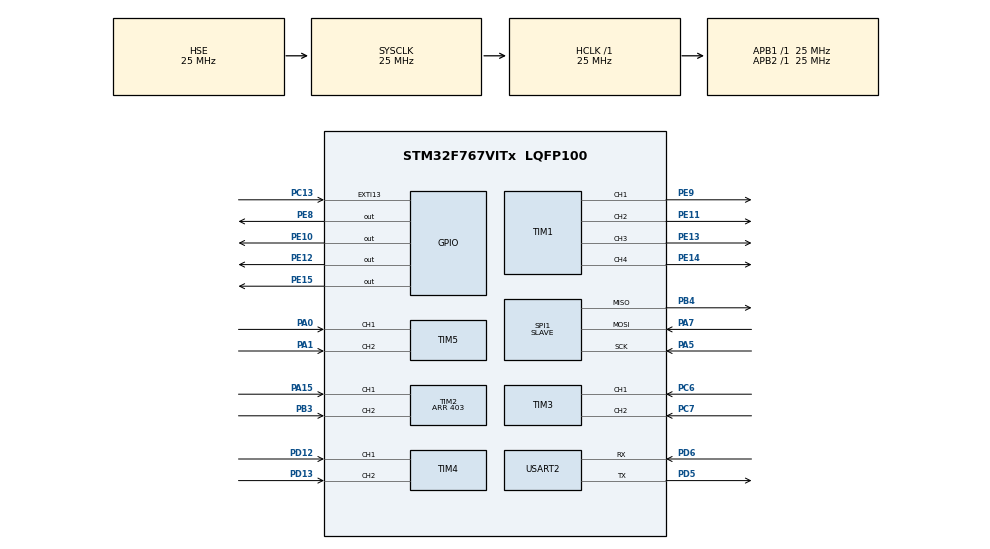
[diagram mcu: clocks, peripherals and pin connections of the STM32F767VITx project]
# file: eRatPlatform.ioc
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FREERTOS.Tasks01=defaultTask,0,128,StartDefaultTask,Default,NULL
Mcu.Family=STM32F7
Mcu.Name=STM32F767VITx
Mcu.Package=LQFP100
NVIC.EXTI15_10_IRQn=true\:0\:0\:false\:false\:true\:false\:true
NVIC.PriorityGroup=NVIC_PRIORITYGROUP_4
NVIC.TIM8_TRG_COM_TIM14_IRQn=true\:0\:0\:false\:false\:true\:false\:false
NVIC.TimeBase=TIM8_TRG_COM_TIM14_IRQn
NVIC.TimeBaseIP=TIM14
PA0/WKUP.Signal=S_TIM5_CH1
PA1.Signal=S_TIM5_CH2
PA13.Mode=Serial_Wire
PA13.Signal=SYS_JTMS-SWDIO
PA14.Mode=Serial_Wire
PA14.Signal=SYS_JTCK-SWCLK
PA15.Signal=S_TIM2_CH1_ETR
PA5.Mode=Full_Duplex_Slave
PA5.Signal=SPI1_SCK
PA7.Mode=Full_Duplex_Slave
PA7.Signal=SPI1_MOSI
PB3.Signal=S_TIM2_CH2
PB4.Mode=Full_Duplex_Slave
PB4.Signal=SPI1_MISO
PC13.GPIO_ModeDefaultEXTI=GPIO_MODE_IT_RISING
PC13.Signal=GPXTI13
PC14/OSC32_IN.Mode=LSE-External-Oscillator
PC14/OSC32_IN.Signal=RCC_OSC32_IN
PC15/OSC32_OUT.Mode=LSE-External-Oscillator
PC15/OSC32_OUT.Signal=RCC_OSC32_OUT
PC6.Signal=S_TIM3_CH1
PC7.Signal=S_TIM3_CH2
PD12.Signal=S_TIM4_CH1
PD13.Signal=S_TIM4_CH2
PD5.Mode=Asynchronous
PD5.Signal=USART2_TX
PD6.Mode=Asynchronous
PD6.Signal=USART2_RX
PE10.Signal=GPIO_Output
PE11.Signal=S_TIM1_CH2
PE12.Signal=GPIO_Output
PE13.Signal=S_TIM1_CH3
PE14.Signal=S_TIM1_CH4
PE15.Signal=GPIO_Output
PE8.Signal=GPIO_Output
PE9.Signal=S_TIM1_CH1
PH0/OSC_IN.Mode=HSE-External-Oscillator
PH0/OSC_IN.Signal=RCC_OSC_IN
PH1/OSC_OUT.Mode=HSE-External-Oscillator
PH1/OSC_OUT.Signal=RCC_OSC_OUT
ProjectManager.HeapSize=0x200
ProjectManager.StackSize=0x400
ProjectManager.TargetToolchain=SW4STM32
RCC.AHBFreq_Value=25000000
RCC.APB1Freq_Value=25000000
RCC.APB1TimFreq_Value=25000000
RCC.APB2Freq_Value=25000000
RCC.APB2TimFreq_Value=25000000
RCC.CortexFreq_Value=25000000
RCC.EnbaleCSS=true
RCC.HCLKFreq_Value=25000000
RCC.HSE_VALUE=25000000
RCC.HSI_VALUE=16000000
RCC.PLLM=12
RCC.PLLN=144
RCC.PLLQ=5
RCC.PLLSourceVirtual=RCC_PLLSOURCE_HSE
RCC.SYSCLKFreq_VALUE=25000000
RCC.SYSCLKSource=RCC_SYSCLKSOURCE_HSE
RCC.USBFreq_Value=60000000
RCC.VCOOutputFreq_Value=300000000
SH.S_TIM1_CH1.0=TIM1_CH1,PWM Generation1 CH1
SH.S_TIM1_CH2.0=TIM1_CH2,PWM Generation2 CH2
SH.S_TIM1_CH3.0=TIM1_CH3,PWM Generation3 CH3
SH.S_TIM1_CH4.0=TIM1_CH4,PWM Generation4 CH4
SH.S_TIM2_CH1_ETR.0=TIM2_CH1,Encoder_Interface
SH.S_TIM2_CH2.0=TIM2_CH2,Encoder_Interface
SH.S_TIM3_CH1.0=TIM3_CH1,Encoder_Interface
SH.S_TIM3_CH2.0=TIM3_CH2,Encoder_Interface
SH.S_TIM4_CH1.0=TIM4_CH1,Encoder_Interface
SH.S_TIM4_CH2.0=TIM4_CH2,Encoder_Interface
SH.S_TIM5_CH1.0=TIM5_CH1,Encoder_Interface
SH.S_TIM5_CH2.0=TIM5_CH2,Encoder_Interface
SPI1.CLKPhase=SPI_PHASE_1EDGE
SPI1.CLKPolarity=SPI_POLARITY_LOW
SPI1.DataSize=SPI_DATASIZE_8BIT
SPI1.Direction=SPI_DIRECTION_2LINES
SPI1.Mode=SPI_MODE_SLAVE
SPI1.VirtualType=VM_SLAVE
TIM1.Channel-PWM\ Generation1\ CH1=TIM_CHANNEL_1
TIM1.Channel-PWM\ Generation2\ CH2=TIM_CHANNEL_2
TIM1.Channel-PWM\ Generation3\ CH3=TIM_CHANNEL_3
TIM1.Channel-PWM\ Generation4\ CH4=TIM_CHANNEL_4
TIM2.IC2Filter=15
TIM2.Period=403
USART2.VirtualMode-Asynchronous=VM_ASYNC
VP_FREERTOS_VS_ENABLE.Mode=Enabled
VP_SYS_VS_tim14.Mode=TIM14
board=custom

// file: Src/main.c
/**
  ******************************************************************************
  * @file           : main.c
  * @brief          : Main program body
  ******************************************************************************
  * This notice applies to any and all portions of this file
  * that are not between comment pairs USER CODE BEGIN and
  * USER CODE END. Other portions of this file, whether
  * inserted by the user or by software development tools
  * are owned by their respective copyright owners.
  *
  * Copyright (c) 2018 STMicroelectronics International N.V.
  * All rights reserved.
  *
  * Redistribution and use in source and binary forms, with or without
  * modification, are permitted, provided that the following conditions are met:
  *
  * 1. Redistribution of source code must retain the above copyright notice,
  *    this list of conditions and the following disclaimer.
  * 2. Redistributions in binary form must reproduce the above copyright notice,
  *    this list of conditions and the following disclaimer in the documentation
  *    and/or other materials provided with the distribution.
  * 3. Neither the name of STMicroelectronics nor the names of other
  *    contributors to this software may be used to endorse or promote products
  *    derived from this software without specific written permission.
  * 4. This software, including modifications and/or derivative works of this
  *    software, must execute solely and exclusively on microcontroller or
  *    microprocessor devices manufactured by or for STMicroelectronics.
  * 5. Redistribution and use of this software other than as permitted under
  *    this license is void and will automatically terminate your rights under
  *    this license.
  *
  * THIS SOFTWARE IS PROVIDED BY STMICROELECTRONICS AND CONTRIBUTORS "AS IS"
  * AND ANY EXPRESS, IMPLIED OR STATUTORY WARRANTIES, INCLUDING, BUT NOT
  * LIMITED TO, THE IMPLIED WARRANTIES OF MERCHANTABILITY, FITNESS FOR A
  * PARTICULAR PURPOSE AND NON-INFRINGEMENT OF THIRD PARTY INTELLECTUAL PROPERTY
  * RIGHTS ARE DISCLAIMED TO THE FULLEST EXTENT PERMITTED BY LAW. IN NO EVENT
  * SHALL STMICROELECTRONICS OR CONTRIBUTORS BE LIABLE FOR ANY DIRECT, INDIRECT,
  * INCIDENTAL, SPECIAL, EXEMPLARY, OR CONSEQUENTIAL DAMAGES (INCLUDING, BUT NOT
  * LIMITED TO, PROCUREMENT OF SUBSTITUTE GOODS OR SERVICES; LOSS OF USE, DATA,
  * OR PROFITS; OR BUSINESS INTERRUPTION) HOWEVER CAUSED AND ON ANY THEORY OF
  * LIABILITY, WHETHER IN CONTRACT, STRICT LIABILITY, OR TORT (INCLUDING
  * NEGLIGENCE OR OTHERWISE) ARISING IN ANY WAY OUT OF THE USE OF THIS SOFTWARE,
  * EVEN IF ADVISED OF THE POSSIBILITY OF SUCH DAMAGE.
  *
  ******************************************************************************
  */
#include "main.h"
#include "stm32f7xx_hal.h"
#include "cmsis_os.h"
#include "spi.h"
#include "tim.h"
#include "usart.h"
#include "gpio.h"

/* USER CODE BEGIN Includes */
#include "Interface.h"
#include "WheelDriveSystem.h"
#include "WheelDrive.h"

/* USER CODE END Includes */

/* USER CODE BEGIN PV */
/* Private variables ---------------------------------------------------------*/

/* USER CODE END PV */

void SystemClock_Config(void);
void MX_FREERTOS_Init(void);

/* USER CODE BEGIN PFP */
/* Private function prototypes -----------------------------------------------*/

/* USER CODE END PFP */

int main(void)
{

  /* MCU Configuration----------------------------------------------------------*/

  /* Reset of all peripherals, Initializes the Flash interface and the Systick. */
  HAL_Init();

  /* Configure the system clock */
  SystemClock_Config();

  /* Initialize all configured peripherals */
  MX_GPIO_Init();
  MX_TIM1_Init();
  MX_TIM2_Init();
  MX_TIM3_Init();
  MX_TIM4_Init();
  MX_TIM5_Init();
  MX_USART2_UART_Init();
  MX_SPI1_Init();
  /* USER CODE BEGIN 2 */

	/* WHEEL DRIVE INIT BEGIN */
	/* Initialize PWM for Wheel Drive*/
	MX_TIM1_Init();

	/* Wheel Drive Front Left */
	HAL_TIM_PWM_Start(&htim1, TIM_CHANNEL_1);

	/*  Wheel Drive Rear Left */
	HAL_TIM_PWM_Start(&htim1, TIM_CHANNEL_2);

	/* Wheel Drive Front Right */
	HAL_TIM_PWM_Start(&htim1, TIM_CHANNEL_3);

	/* Wheel Drive Rear Right */
	HAL_TIM_PWM_Start(&htim1, TIM_CHANNEL_4);

	/* Initialize Encoder for Wheel Drive Front Left, Rear Left, Front Right, Rear Right*/
	MX_TIM2_Init();
	HAL_TIM_Encoder_Start(&htim2, TIM_CHANNEL_1 | TIM_CHANNEL_2);

	/* Initialize Encoder for Wheel Drive Rear Left */
	MX_TIM3_Init();
	HAL_TIM_Encoder_Start(&htim3, TIM_CHANNEL_1 | TIM_CHANNEL_2);

	/* Initialize Encoder for Wheel Drive Front Right */
	MX_TIM4_Init();
	HAL_TIM_Encoder_Start(&htim4, TIM_CHANNEL_1 | TIM_CHANNEL_2);

	/* Initialize Encoder for Wheel Drive Rear Right */
	MX_TIM5_Init();
	HAL_TIM_Encoder_Start(&htim5, TIM_CHANNEL_1 | TIM_CHANNEL_2);
	/* WHEEL DRIVE INIT END */

  /* USER CODE END 2 */

  /* Call init function for freertos objects (in freertos.c) */
  MX_FREERTOS_Init();

  /* Start scheduler */
  osKernelStart();

  /* We should never get here as control is now taken by the scheduler */

  /* Infinite loop */
  while (1)
  {
	  //HAL_GPIO_WritePin(GPIOC, GPIO_PIN_9, GPIO_PIN_RESET);
	  //HAL_SPI_Transmit(&hspi1, (uint8_t *)message, strlen(message), HAL_MAX_DELAY);
	  //HAL_GPIO_WritePin(GPIOB, GPIO_PIN_10, GPIO_PIN_SET);
	  HAL_Delay(10);
  }

}

void SystemClock_Config(void)
{

  RCC_OscInitTypeDef RCC_OscInitStruct;
  RCC_ClkInitTypeDef RCC_ClkInitStruct;
  RCC_PeriphCLKInitTypeDef PeriphClkInitStruct;

    /**Configure the main internal regulator output voltage
    */
  __HAL_RCC_PWR_CLK_ENABLE();

  __HAL_PWR_VOLTAGESCALING_CONFIG(PWR_REGULATOR_VOLTAGE_SCALE3);

    /**Initializes the CPU, AHB and APB busses clocks
    */
  RCC_OscInitStruct.OscillatorType = RCC_OSCILLATORTYPE_HSE;
  RCC_OscInitStruct.HSEState = RCC_HSE_ON;
  RCC_OscInitStruct.PLL.PLLState = RCC_PLL_NONE;
  if (HAL_RCC_OscConfig(&RCC_OscInitStruct) != HAL_OK)
  {
    _Error_Handler(__FILE__, __LINE__);
  }

    /**Initializes the CPU, AHB and APB busses clocks
    */
  RCC_ClkInitStruct.ClockType = RCC_CLOCKTYPE_HCLK|RCC_CLOCKTYPE_SYSCLK
                              |RCC_CLOCKTYPE_PCLK1|RCC_CLOCKTYPE_PCLK2;
  RCC_ClkInitStruct.SYSCLKSource = RCC_SYSCLKSOURCE_HSE;
  RCC_ClkInitStruct.AHBCLKDivider = RCC_SYSCLK_DIV1;
  RCC_ClkInitStruct.APB1CLKDivider = RCC_HCLK_DIV1;
  RCC_ClkInitStruct.APB2CLKDivider = RCC_HCLK_DIV1;

  if (HAL_RCC_ClockConfig(&RCC_ClkInitStruct, FLASH_LATENCY_0) != HAL_OK)
  {
    _Error_Handler(__FILE__, __LINE__);
  }

  PeriphClkInitStruct.PeriphClockSelection = RCC_PERIPHCLK_USART2;
  PeriphClkInitStruct.Usart2ClockSelection = RCC_USART2CLKSOURCE_PCLK1;
  if (HAL_RCCEx_PeriphCLKConfig(&PeriphClkInitStruct) != HAL_OK)
  {
    _Error_Handler(__FILE__, __LINE__);
  }

    /**Enables the Clock Security System
    */
  HAL_RCC_EnableCSS();

    /**Configure the Systick interrupt time
    */
  HAL_SYSTICK_Config(HAL_RCC_GetHCLKFreq()/1000);

    /**Configure the Systick
    */
  HAL_SYSTICK_CLKSourceConfig(SYSTICK_CLKSOURCE_HCLK);

  /* SysTick_IRQn interrupt configuration */
  HAL_NVIC_SetPriority(SysTick_IRQn, 15, 0);
}

void HAL_TIM_PeriodElapsedCallback(TIM_HandleTypeDef *htim)
{
  if (htim->Instance == TIM14) {
    HAL_IncTick();
  }
}

void _Error_Handler(char *file, int line)
{
  while(1)
  {
  }
}

/************************ (C) COPYRIGHT STMicroelectronics *****END OF FILE****/

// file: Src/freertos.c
/**
  ******************************************************************************
  * File Name          : freertos.c
  * Description        : Code for freertos applications
  ******************************************************************************
  * This notice applies to any and all portions of this file
  * that are not between comment pairs USER CODE BEGIN and
  * USER CODE END. Other portions of this file, whether
  * inserted by the user or by software development tools
  * are owned by their respective copyright owners.
  *
  * Copyright (c) 2018 STMicroelectronics International N.V.
  * All rights reserved.
  *
  * Redistribution and use in source and binary forms, with or without
  * modification, are permitted, provided that the following conditions are met:
  *
  * 1. Redistribution of source code must retain the above copyright notice,
  *    this list of conditions and the following disclaimer.
  * 2. Redistributions in binary form must reproduce the above copyright notice,
  *    this list of conditions and the following disclaimer in the documentation
  *    and/or other materials provided with the distribution.
  * 3. Neither the name of STMicroelectronics nor the names of other
  *    contributors to this software may be used to endorse or promote products
  *    derived from this software without specific written permission.
  * 4. This software, including modifications and/or derivative works of this
  *    software, must execute solely and exclusively on microcontroller or
  *    microprocessor devices manufactured by or for STMicroelectronics.
  * 5. Redistribution and use of this software other than as permitted under
  *    this license is void and will automatically terminate your rights under
  *    this license.
  *
  * THIS SOFTWARE IS PROVIDED BY STMICROELECTRONICS AND CONTRIBUTORS "AS IS"
  * AND ANY EXPRESS, IMPLIED OR STATUTORY WARRANTIES, INCLUDING, BUT NOT
  * LIMITED TO, THE IMPLIED WARRANTIES OF MERCHANTABILITY, FITNESS FOR A
  * PARTICULAR PURPOSE AND NON-INFRINGEMENT OF THIRD PARTY INTELLECTUAL PROPERTY
  * RIGHTS ARE DISCLAIMED TO THE FULLEST EXTENT PERMITTED BY LAW. IN NO EVENT
  * SHALL STMICROELECTRONICS OR CONTRIBUTORS BE LIABLE FOR ANY DIRECT, INDIRECT,
  * INCIDENTAL, SPECIAL, EXEMPLARY, OR CONSEQUENTIAL DAMAGES (INCLUDING, BUT NOT
  * LIMITED TO, PROCUREMENT OF SUBSTITUTE GOODS OR SERVICES; LOSS OF USE, DATA,
  * OR PROFITS; OR BUSINESS INTERRUPTION) HOWEVER CAUSED AND ON ANY THEORY OF
  * LIABILITY, WHETHER IN CONTRACT, STRICT LIABILITY, OR TORT (INCLUDING
  * NEGLIGENCE OR OTHERWISE) ARISING IN ANY WAY OUT OF THE USE OF THIS SOFTWARE,
  * EVEN IF ADVISED OF THE POSSIBILITY OF SUCH DAMAGE.
  *
  ******************************************************************************
  */

#include "FreeRTOS.h"
#include "task.h"
#include "cmsis_os.h"

/* USER CODE BEGIN Includes */
#include "tim.h"
#include "Interface.h"
#include "WheelDriveSystem.h"
#include "WheelDrive.h"
#include "spi.h"
#include <string.h>

/* USER CODE END Includes */

osThreadId defaultTaskHandle;

/* USER CODE BEGIN Variables */
osThreadId driveTestTaskHandle;

extern int8_t user_button_1;

extern int16_t encoderFL; //TIM2
extern int16_t encoderRL; //TIM3
extern int16_t encoderFR; //TIM4
extern int16_t encoderRR; //TIM5

extern SPI_HandleTypeDef hspi1;
char message[] = "hello";

/* USER CODE END Variables */

void StartDefaultTask(void const * argument);

void MX_FREERTOS_Init(void); /* (MISRA C 2004 rule 8.1) */

/* USER CODE BEGIN FunctionPrototypes */
void StartDriveTestTask(void const * argument);

/* USER CODE END FunctionPrototypes */

/* Hook prototypes */

/* Init FreeRTOS */

void MX_FREERTOS_Init(void) {

  /* Create the thread(s) */
  /* definition and creation of defaultTask */
  osThreadDef(defaultTask, StartDefaultTask, osPriorityNormal, 0, 128);
  defaultTaskHandle = osThreadCreate(osThread(defaultTask), NULL);

  osThreadDef(driveTestTask, StartDriveTestTask, osPriorityNormal, 0, 128);
  driveTestTaskHandle = osThreadCreate(osThread(driveTestTask), NULL);

}

/* StartDefaultTask function */
void StartDefaultTask(void const * argument)
{

  for(;;)
  {
    osDelay(1);
  }
}

/* USER CODE BEGIN Application */
void StartDriveTestTask(void const * argument)
{

  /* USER CODE BEGIN StartDefaultTask */
  /* Infinite loop */
	for(;;)
	  {
		  encoderFL = -TIM2->CNT;
		  encoderRL = -TIM3->CNT;
		  encoderFR = TIM4->CNT;
		  encoderRR = TIM5->CNT;

		  if(user_button_1 == 1){
	//		  HAL_GPIO_WritePin(GPIOE, GPIO_PIN_8, 1);
	//		  HAL_GPIO_WritePin(GPIOE, GPIO_PIN_10, 1);
	//		  HAL_GPIO_WritePin(GPIOE, GPIO_PIN_12, 0);
	//		  HAL_GPIO_WritePin(GPIOE, GPIO_PIN_15, 0);

			  //Forward driving Test
			  WheelDriveFrontLeft_Run(100);
			  WheelDriveRearLeft_Run(100);
			  WheelDriveFrontRight_Run(100);
			  WheelDriveRearRight_Run(100);

			  osDelay(100);
		  }else if(user_button_1 == 2){
			  //Reverse driving Test

			  WheelDriveFrontLeft_Run(-100);
			  WheelDriveRearLeft_Run(-100);
			  WheelDriveFrontRight_Run(-100);
			  WheelDriveRearRight_Run(-100);

			  osDelay(100);
		  }else if(user_button_1 == 3){
			  //Hard stop Test

			  WheelDriveFrontLeft_Run(0);
			  WheelDriveRearLeft_Run(0);
			  WheelDriveFrontRight_Run(0);
			  WheelDriveRearRight_Run(0);

			  osDelay(100);
		  }else if(user_button_1 == -1 || user_button_1 == 4){
			  //Soft stop Test

			  WheelDriveFrontLeft_Run(-1);
			  WheelDriveRearLeft_Run(-1);
			  WheelDriveFrontRight_Run(-1);
			  WheelDriveRearRight_Run(-1);

			  osDelay(100);
		  }

		  HAL_GPIO_WritePin(GPIOC, GPIO_PIN_9, GPIO_PIN_RESET);
		  HAL_SPI_Transmit(&hspi1, (uint8_t *)message, strlen(message), 1);
		  HAL_GPIO_WritePin(GPIOC, GPIO_PIN_9, GPIO_PIN_SET);
	    osDelay(10);
	  }
  /* USER CODE END StartDefaultTask */
}

/* USER CODE END Application */

/************************ (C) COPYRIGHT STMicroelectronics *****END OF FILE****/
